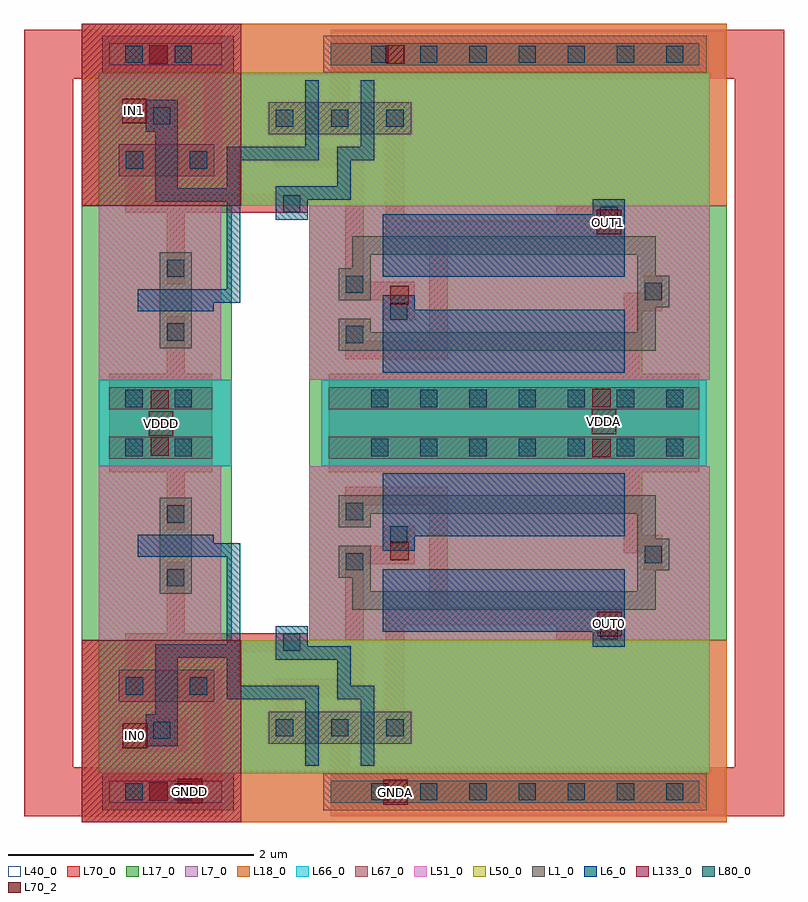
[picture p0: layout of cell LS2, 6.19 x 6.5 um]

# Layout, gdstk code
import gdstk
lib = gdstk.Library(unit=1e-6, precision=1e-09)
def R(c, l, rs):  # rectangles x0, y0, x1, y1
    for r in rs: c.add(gdstk.rectangle(r[:2], r[2:], *l))
def A(c, l, x, y, w, h, nx, ny, dx, dy):  # array of equal rectangles
    R(c, l, [(x+i*dx, y+j*dy, x+i*dx+w, y+j*dy+h) for i in range(nx) for j in range(ny)])
def P(c, l, *ps):  # polygons
    for p in ps: c.add(gdstk.Polygon(p, *l))
L1_0 = (1, 0)
L6_0 = (6, 0)
L7_0 = (7, 0)
L17_0 = (17, 0)
L18_0 = (18, 0)
L40_0 = (40, 0)
L50_0 = (50, 0)
L51_0 = (51, 0)
L66_0 = (66, 0)
L67_0 = (67, 0)
L70_0 = (70, 0)
L70_2 = (70, 2)
L80_0 = (80, 0)
L133_0 = (133, 0)

c_ls = lib.new_cell('LS')
R(c_ls, L1_0, [(0,-0.09,0.92,0.09), (1.8,-0.09,4.8,0.09), (1.295,0.39,2.455,0.65), (0.075,0.73,0.855,0.99), (0.41,1.61,0.67,2.39), (1.865,1.74,2.125,2), (4.295,1.8,4.555,2.06), (0,2.71,0.835,2.89), (1.785,2.71,4.8,2.89)])
P(c_ls, L1_0, [(4.445,1.98),(4.295,1.98),(4.295,1.63),(2.125,1.63),(2.125,1.835),(1.975,1.835),(1.975,1.48),(4.445,1.48)],
  [(4.445,2.41),(1.865,2.41),(1.865,2.15),(2.125,2.15),(2.125,2.26),(4.295,2.26),(4.295,1.98),(4.445,1.98)])
R(c_ls, L6_0, [(1.595,0.21,1.705,0.83), (2.045,0.21,2.155,0.765), (1.855,0.75,2.155,0.86), (0.375,1.09,0.955,1.2), (3.935,1.18,4.195,1.3), (2.225,1.3,4.195,1.81), (2.225,1.96,2.485,2.08), (2.225,2.08,4.195,2.59)])
P(c_ls, L6_0, [(1.705,0.86),(1.065,0.86),(1.065,2.02),(0.85,2.02),(0.85,2.09),(0.23,2.09),(0.23,1.91),(0.955,1.91),(0.955,0.75),(1.705,0.75)],
  [(0.555,1.17),(0.375,1.17),(0.375,0.63),(0.295,0.63),(0.295,0.37),(0.555,0.37)],
  [(1.965,1.185),(1.615,1.185),(1.615,1.345),(1.355,1.345),(1.355,1.075),(1.855,1.075),(1.855,0.815),(1.965,0.815)])
R(c_ls, L7_0, [(-0.225,-0.25,5.025,1.23)])
R(c_ls, L17_0, [(-0.225,1.23,0.995,3.05), (1.625,1.23,5.025,3.05)])
R(c_ls, L18_0, [(-0.225,-0.25,5.025,1.23)])
R(c_ls, L40_0, [(-0.225,-0.25,5.025,3.05)])
R(c_ls, L50_0, [(-0.085,0.15,4.885,1.23)])
R(c_ls, L51_0, [(-0.085,1.23,0.91,2.65), (1.625,1.23,4.885,2.65)])
R(c_ls, L66_0, [(-0.085,0.15,4.885,1.23), (-0.085,2.65,0.995,2.95), (1.725,2.65,4.86,2.95)])
R(c_ls, L67_0, [(-0.06,-0.15,1.01,0.15), (1.74,-0.15,4.86,0.15), (-0.085,1.23,0.91,2.65), (1.625,1.23,4.885,2.65)])
R(c_ls, L70_0, [(0.07,0.33,0.63,0.6), (1.35,0.39,1.5,0.835), (1.35,0.77,2.07,0.92), (1.92,0.92,2.07,2), (3.635,1.235,4.195,1.505), (2.07,1.85,2.485,2), (2.225,1.85,2.485,2.165), (1.92,2.15,2.07,2.33)])
P(c_ls, L70_0, [(0.92,0.99),(0.65,0.99),(0.65,0.73),(0.77,0.73),(0.77,0.2),(0,0.2),(0,-0.2),(0.92,-0.2)],
  [(4.8,3),(1.785,3),(1.785,2.6),(4.185,2.6),(4.185,1.94),(4.35,1.94),(4.35,1.8),(4.5,1.8),(4.5,2.09),(4.335,2.09),(4.335,2.6),(4.8,2.6)],
  [(0.835,3),(0,3),(0,2.6),(0.465,2.6),(0.465,2.13),(0.615,2.13),(0.615,2.6),(0.835,2.6)],
  [(4.8,0.2),(1.95,0.2),(1.95,0.65),(1.8,0.65),(1.8,-0.2),(4.8,-0.2)],
  [(4.195,1.505),(2.755,1.505),(2.755,2.48),(1.92,2.48),(1.92,2.33),(2.605,2.33),(2.605,1.505),(2.25,1.505),(2.25,0.39),(2.4,0.39),(2.4,1.355),(4.195,1.355)],
  [(1.615,1.29),(0.615,1.29),(0.615,1.87),(0.465,1.87),(0.465,1.29),(0.13,1.29),(0.13,0.73),(0.28,0.73),(0.28,1.14),(1.615,1.14)])
R(c_ls, L70_2, [(0.325,-0.075,0.475,0.075), (2.25,-0.075,2.4,0.075), (0.13,0.38,0.28,0.53), (3.99,1.29,4.14,1.44), (2.285,1.885,2.435,2.035), (3.93,2.72,4.08,2.87), (0.335,2.735,0.485,2.885)])
A(c_ls, L80_0, 2.13, -0.07, 0.14, 0.14, 7, 2, 0.4, 2.8)
R(c_ls, L80_0, [(0.13,-0.07,0.27,0.07), (0.53,-0.07,0.67,0.07), (0.355,0.43,0.495,0.57), (1.355,0.45,1.495,0.59), (1.805,0.45,1.945,0.59), (1.805,0.45,1.945,0.59), (2.255,0.45,2.395,0.59), (0.135,0.79,0.275,0.93), (0.655,0.79,0.795,0.93), (1.415,1.145,1.555,1.285), (3.995,1.24,4.135,1.38), (0.47,1.67,0.61,1.81), (1.925,1.8,2.065,1.94), (4.355,1.86,4.495,2), (2.285,2.02,2.425,2.16), (0.47,2.19,0.61,2.33), (1.925,2.21,2.065,2.35), (0.13,2.73,0.27,2.87), (0.53,2.73,0.67,2.87)])
R(c_ls, L133_0, [(-0.225,-0.25,1.075,1.23)])
c_ls.add(gdstk.Label('VSS', (2.325,0), layer=70, texttype=2))
c_ls.add(gdstk.Label('VDD', (4.005,2.795), layer=70, texttype=2))
c_ls.add(gdstk.Label('VSSD', (0.4,0), layer=70, texttype=2))
c_ls.add(gdstk.Label('OUTN', (2.36,1.96), layer=70, texttype=2))
c_ls.add(gdstk.Label('OUT', (4.065,1.365), layer=70, texttype=2))
c_ls.add(gdstk.Label('IN', (0.205,0.455), layer=70, texttype=2))
c_ls.add(gdstk.Label('VDDD', (0.41,2.81), layer=70, texttype=2))

ls2 = lib.new_cell('LS2')
R(ls2, L66_0, [(0.14,3.065,1.22,3.425), (1.95,3.07,5.085,3.4)])
R(ls2, L70_0, [(0.49,0.1,1.035,0.4), (4.08,2.92,4.44,3.615), (0.355,2.925,0.87,3.565)])
R(ls2, L70_2, [(2.455,0.145,2.655,0.345), (0.78,0.155,0.98,0.355), (0.335,0.605,0.535,0.805), (4.195,1.515,4.395,1.715), (0.545,3.145,0.745,3.345), (4.15,3.16,4.35,3.36), (4.19,4.785,4.39,4.985), (0.33,5.69,0.53,5.89)])
ls2.add(gdstk.FlexPath([(-0.27,6.25),(0.7,6.25)], 0.4, ends=(0.2, 0), simple_path=True, layer=70, datatype=0))  # L70_0
ls2.add(gdstk.FlexPath([(-0.27,0.25),(-0.27,6.25)], 0.4, ends="extended", simple_path=True, layer=70, datatype=0))  # L70_0
ls2.add(gdstk.FlexPath([(0.865,0.25),(-0.27,0.25)], 0.4, ends=(0, 0.2), simple_path=True, layer=70, datatype=0))  # L70_0
ls2.add(gdstk.FlexPath([(5.515,6.25),(2.23,6.25)], 0.4, ends=(0.2, 0), simple_path=True, layer=70, datatype=0))  # L70_0
ls2.add(gdstk.FlexPath([(5.515,0.25),(5.515,6.25)], 0.4, ends="extended", simple_path=True, layer=70, datatype=0))  # L70_0
ls2.add(gdstk.FlexPath([(2.245,0.25),(5.515,0.25)], 0.4, ends=(0, 0.2), simple_path=True, layer=70, datatype=0))  # L70_0
ls2.add(gdstk.Reference(c_ls, (0.225,6.25), x_reflection=True))
ls2.add(gdstk.Reference(c_ls, (0.225,0.25)))
ls2.add(gdstk.Label('OUT0', (4.295,1.615), layer=70, texttype=2))
ls2.add(gdstk.Label('OUT1', (4.29,4.885), layer=70, texttype=2))
ls2.add(gdstk.Label('IN1', (0.43,5.79), layer=70, texttype=2))
ls2.add(gdstk.Label('IN0', (0.435,0.705), layer=70, texttype=2))
ls2.add(gdstk.Label('GNDA', (2.555,0.245), layer=70, texttype=2))
ls2.add(gdstk.Label('VDDA', (4.25,3.26), layer=70, texttype=2))
ls2.add(gdstk.Label('GNDD', (0.88,0.255), layer=70, texttype=2))
ls2.add(gdstk.Label('VDDD', (0.645,3.245), layer=70, texttype=2))

lib.write_gds('LS2.gds')
